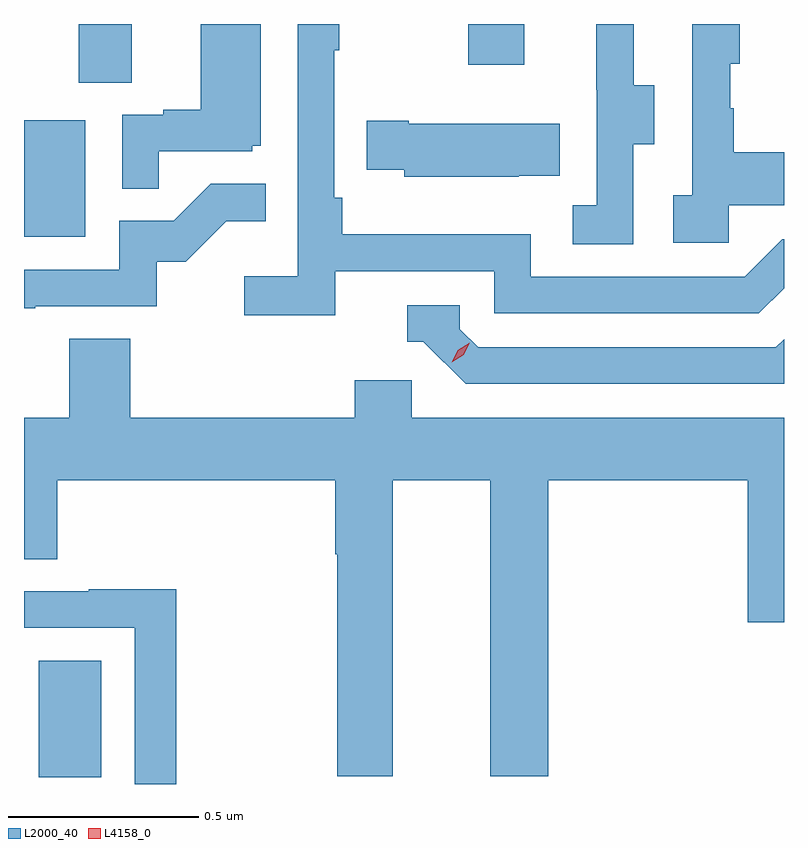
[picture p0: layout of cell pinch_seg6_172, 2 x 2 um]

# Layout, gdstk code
import gdstk
lib = gdstk.Library(unit=1e-6, precision=1e-09)
def R(c, l, rs):  # rectangles x0, y0, x1, y1
    for r in rs: c.add(gdstk.rectangle(r[:2], r[2:], *l))
def P(c, l, *ps):  # polygons
    for p in ps: c.add(gdstk.Polygon(p, *l))
L2000_40 = (2000, 40)
L4158_0 = (4158, 0)

pinch_seg6_172 = lib.new_cell('pinch_seg6_172')
R(pinch_seg6_172, L2000_40, [(1014.29,921.246,1014.454,921.553), (1014.251,922.668,1014.412,922.975), (1014.395,923.074,1014.535,923.228), (1015.42,923.121,1015.567,923.228)])
P(pinch_seg6_172, L2000_40, [(1014.605,922.893),(1014.852,922.893),(1014.852,922.908),(1014.874,922.908),(1014.874,923.228),(1014.716,923.228),(1014.716,923.002),(1014.617,923.002),(1014.617,922.989),(1014.51,922.989),(1014.51,922.795),(1014.605,922.795)],
  [(1016.106,922.751),(1016.251,922.751),(1016.251,922.891),(1016.119,922.891),(1016.119,923.006),(1016.109,923.006),(1016.109,923.124),(1016.134,923.124),(1016.134,923.228),(1016.01,923.228),(1016.01,922.778),(1015.959,922.778),(1015.959,922.653),(1016.106,922.653)],
  [(1015.07,922.578),(1015.488,922.578),(1015.488,922.467),(1016.185,922.467),(1016.251,922.533),(1016.251,922.662),(1016.247,922.662),(1016.148,922.563),(1015.584,922.563),(1015.584,922.675),(1015.088,922.675),(1015.088,922.771),(1015.068,922.771),(1015.068,923.159),(1015.081,923.159),(1015.081,923.228),(1014.972,923.228),(1014.972,922.564),(1014.831,922.564),(1014.831,922.462),(1015.07,922.462)],
  [(1015.854,922.912),(1015.909,922.912),(1015.909,923.067),(1015.855,923.067),(1015.855,923.228),(1015.757,923.228),(1015.757,923.055),(1015.758,923.055),(1015.758,922.751),(1015.695,922.751),(1015.695,922.648),(1015.854,922.648)],
  [(1015.553,922.829),(1015.661,922.829),(1015.661,922.966),(1015.264,922.966),(1015.264,922.974),(1015.153,922.974),(1015.153,922.844),(1015.251,922.844),(1015.251,922.826),(1015.553,922.826)],
  [(1014.281,922.485),(1014.6,922.485),(1014.6,922.602),(1014.676,922.602),(1014.783,922.709),(1014.887,922.709),(1014.887,922.808),(1014.743,922.808),(1014.645,922.71),(1014.501,922.71),(1014.501,922.581),(1014.251,922.581),(1014.251,922.48),(1014.281,922.48)],
  [(1016.251,922.399),(1016.229,922.377),(1015.446,922.377),(1015.398,922.425),(1015.398,922.488),(1015.259,922.488),(1015.259,922.392),(1015.302,922.392),(1015.413,922.281),(1016.251,922.281)],
  [(1015.222,922.028),(1015.478,922.028),(1015.478,921.249),(1015.631,921.249),(1015.631,922.028),(1016.156,922.028),(1016.156,921.654),(1016.251,921.654),(1016.251,922.192),(1015.272,922.192),(1015.272,922.29),(1015.121,922.29),(1015.121,922.192),(1014.53,922.192),(1014.53,922.4),(1014.37,922.4),(1014.37,922.192),(1014.251,922.192),(1014.251,921.82),(1014.338,921.82),(1014.338,922.028),(1015.07,922.028),(1015.07,921.832),(1015.075,921.832),(1015.075,921.249),(1015.222,921.249)],
  [(1014.652,921.74),(1014.421,921.74),(1014.421,921.735),(1014.251,921.735),(1014.251,921.639),(1014.543,921.639),(1014.543,921.228),(1014.652,921.228)])
P(pinch_seg6_172, L4158_0, [(1015.377,922.338),(1015.377,922.338),(1015.393,922.37),(1015.424,922.389),(1015.424,922.389),(1015.424,922.389),(1015.408,922.357),(1015.377,922.338)])

lib.write_gds('pinch_seg6_172.gds')
